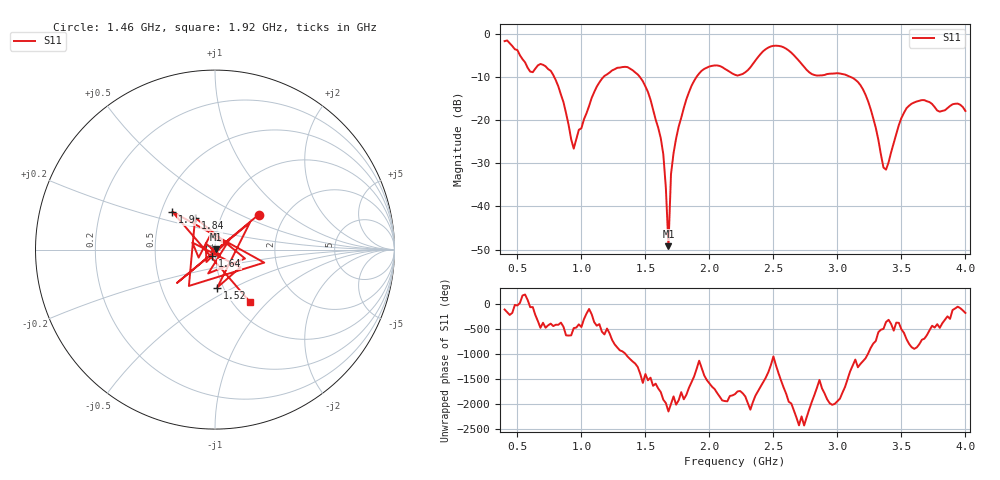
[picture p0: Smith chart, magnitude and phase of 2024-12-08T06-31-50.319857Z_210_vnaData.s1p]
!Created with skrf (http://scikit-rf.org).
# Hz S RI R 50.0
!freq ReS11 ImS11
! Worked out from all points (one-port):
!   181 points, 400 MHz to 4 GHz, reference 50 ohm
!   lowest |S11| = -49.2 dB at 1.68 GHz (marker M1), VSWR 1.01, Z = 50.3 + j0.0666 ohm
!   |S11| at or under -10 dB: 787.5 MHz to 1.173 GHz (385.4 MHz wide, 39.3 % of centre); 1.456 GHz to 1.899 GHz (442.7 MHz wide, 26.4 % of centre); 3.104 GHz to end of sweep
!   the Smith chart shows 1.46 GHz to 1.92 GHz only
!   S11 on the Smith chart (normalised r, x): 1.46 GHz: 1.48, +0.64; 1.52 GHz: 0.94, -0.41; 1.64 GHz: 0.97, -0.07; 1.84 GHz: 0.76, +0.28; 1.9 GHz: 0.57, +0.27; 1.92 GHz: 1.19, -0.79
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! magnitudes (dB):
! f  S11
! 400 MHz  -1.7
! 600 MHz  -8.8
! 760 MHz  -8.6
! 860 MHz  -15.9
! 940 MHz  -26.6
! 1.12 GHz  -12.2
! 1.3 GHz  -7.8
! 1.46 GHz  -10.1
! 1.52 GHz  -13.5
! 1.64 GHz  -27.9
! 1.66 GHz  -35.8
! 1.68 GHz  -49.2
! 1.7 GHz  -32.5
! 1.76 GHz  -21.5
! 1.84 GHz  -13.6
! 1.9 GHz  -10.0
! 1.92 GHz  -9.2
! 2.06 GHz  -7.3
! 2.2 GHz  -9.5
! 2.48 GHz  -2.9
! 2.66 GHz  -5.0
! 2.8 GHz  -9.3
! 3.1 GHz  -9.9
! 3.24 GHz  -15.7
! 3.38 GHz  -31.5
! 3.5 GHz  -19.5
! 3.56 GHz  -16.7
! 4 GHz  -17.9
